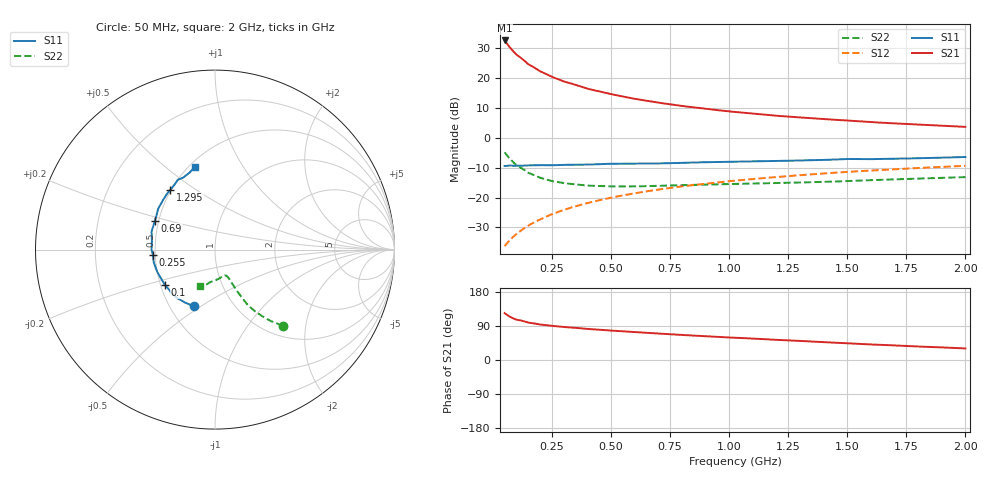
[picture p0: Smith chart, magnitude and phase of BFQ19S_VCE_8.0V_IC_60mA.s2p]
! Infineon Technologies  Discrete & RF Semiconductors
! BFQ19S
! VCE =  8.0 V,  IC =  60 mA
! Common Emitter S-Parameters:  Jan 2016
# GHz  S  MA  R  50
!  f  S11  S21  S12  S22
! GHz  MAG  ANG  MAG  ANG  MAG  ANG  MAG  ANG
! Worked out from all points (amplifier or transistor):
!   391 points, 50 MHz to 2 GHz, reference 50 ohm
!   highest |S21| = 32.5 dB at 50 MHz (marker M1)
!   |S21| within 3 dB of that: start of sweep to 79.54 MHz
!   unconditionally stable (mu >= 1): 247.2 MHz to 1.479 GHz; 1.555 GHz to 1.641 GHz
!   at 375 MHz: K = 1.02, MAG = 18.8 dB, |S12| = -22.4 dB
!   at 1.025 GHz: K = 1.03, MAG = 10.4 dB, |S12| = -14.4 dB
!   at 2 GHz: K = 0.97, MSG = 6.5 dB, |S12| = -9.4 dB
!   S11 on the Smith chart (normalised r, x): 50 MHz: 0.66, -0.47; 100 MHz: 0.53, -0.24; 255 MHz: 0.49, -0.03; 690 MHz: 0.48, +0.18; 1.295 GHz: 0.49, +0.40; 2 GHz: 0.53, +0.64
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0.05  0.3369 -110.1  42.14 123.8  0.0154 67.4  0.5686 -48.3
0.06  0.3392 -119.8  37.18 118.9  0.0172 67.6  0.5056 -52.0
0.07  0.3426 -128.1  33.05 114.9  0.0191 67.7  0.4542 -54.7
0.08  0.3432 -134.3  29.68 111.5  0.0209 68.0  0.4124 -56.9
0.09  0.3394 -139.8  26.86 108.8  0.0227 68.4  0.3772 -58.5
0.1  0.3416 -144.3  24.47 106.5  0.0245 69.6  0.3478 -59.7
0.15  0.3451 -158.7  16.91 98.7  0.034 72.0  0.2589 -62.1
0.2  0.3487 -168.3  12.89 93.7  0.043 73.4  0.2141 -63.1
0.255  0.3467 -175.1  10.21 89.7  0.0535 74.0  0.1871 -63.9
0.3  0.3533 -179.8  8.709 87.0  0.062 74.0  0.1737 -64.4
0.375  0.3541 173.8  7.112 83.5  0.0761 73.6  0.162 -66.0
0.4  0.3554 171.7  6.588 82.0  0.0808 73.5  0.1581 -66.6
0.5  0.3672 164.2  5.324 77.6  0.0993 72.5  0.1536 -69.2
0.6  0.3686 158.9  4.459 73.6  0.1177 71.0  0.1533 -72.6
0.69  0.3711 154.3  3.911 70.2  0.1341 69.7  0.1563 -75.8
0.7  0.3715 153.8  3.851 69.8  0.1359 69.6  0.1567 -76.2
0.9  0.3895 144.5  3.032 62.7  0.1706 66.5  0.1644 -83.5
1.03  0.3967 138.5  2.683 58.6  0.1923 64.2  0.1693 -87.7
1.295  0.4154 127.0  2.19 50.5  0.2355 59.8  0.1782 -95.4
1.35  0.42 124.6  2.114 48.8  0.2444 58.9  0.1803 -96.8
1.675  0.4432 111.7  1.755 39.1  0.2935 53.3  0.2 -103.9
2  0.4757 103.7  1.518 30.5  0.3389 48.2  0.2195 -112.2
